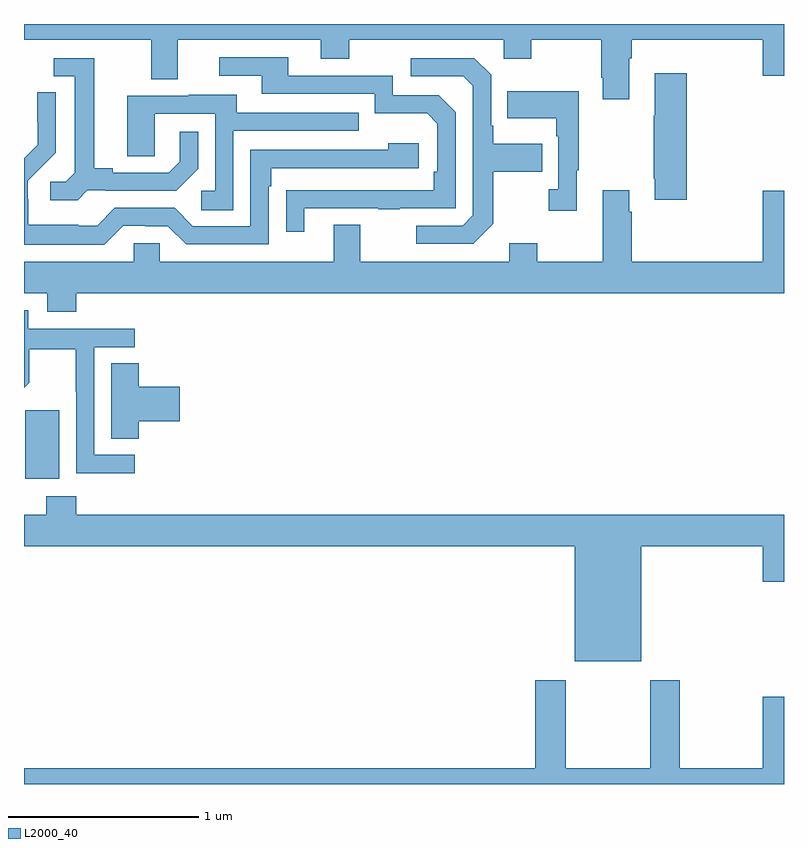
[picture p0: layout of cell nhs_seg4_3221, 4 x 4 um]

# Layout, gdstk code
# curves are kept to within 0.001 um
import gdstk
lib = gdstk.Library(unit=1e-6, precision=1e-09)
def R(c, l, rs):  # rectangles x0, y0, x1, y1
    for r in rs: c.add(gdstk.rectangle(r[:2], r[2:], *l))
def P(c, l, *ps):  # polygons
    for p in ps: c.add(gdstk.Polygon(p, *l))
L2000_40 = (2000, 40)

nhs_seg4_3221 = lib.new_cell('nhs_seg4_3221')
R(nhs_seg4_3221, L2000_40, [(281.006,798.506,281.185,798.867)])
P(nhs_seg4_3221, L2000_40, [(281,800.816),(281.669,800.816),(281.669,800.608),(281.809,800.608),(281.809,800.816),(282.563,800.816),(282.563,800.717),(282.711,800.717),(282.711,800.816),(283.524,800.816),(283.524,800.717),(283.671,800.717),(283.671,800.816),(284.038,800.816),(284.038,800.617),(284.045,800.617),(284.045,800.505),(284.185,800.505),(284.185,800.72),(284.198,800.72),(284.198,800.816),(284.888,800.816),(284.888,800.628),(285,800.628),(285,800.9),(281,800.9)],
  [(282.475,799.929),(282.865,799.929),(282.865,799.924),(282.977,799.924),(282.977,799.929),(283.272,799.929),(283.272,800.436),(283.182,800.526),(282.942,800.526),(282.942,800.628),(282.391,800.628),(282.391,800.724),(282.027,800.724),(282.027,800.628),(282.251,800.628),(282.251,800.532),(282.846,800.532),(282.846,800.429),(283.123,800.429),(283.176,800.376),(283.176,800.122),(283.156,800.122),(283.156,800.025),(282.379,800.024),(282.379,799.806),(282.475,799.806)],
  [(281.334,800.025),(281.428,800.025),(281.428,800.022),(281.8,800.022),(281.916,800.138),(281.916,800.332),(281.819,800.332),(281.819,800.175),(281.762,800.118),(281.467,800.118),(281.467,800.141),(281.371,800.141),(281.371,800.721),(281.157,800.721),(281.157,800.625),(281.267,800.625),(281.267,800.117),(281.22,800.07),(281.139,800.07),(281.139,799.973),(281.282,799.973)],
  [(283.471,799.849),(283.471,800.122),(283.727,800.122),(283.727,800.269),(283.471,800.269),(283.471,800.365),(283.458,800.365),(283.458,800.634),(283.371,800.721),(283.035,800.721),(283.035,800.625),(283.311,800.625),(283.362,800.574),(283.362,799.893),(283.308,799.839),(283.065,799.839),(283.065,799.743),(283.365,799.743)],
  [(284.489,800.641),(284.321,800.641),(284.321,800.417),(284.314,800.417),(284.314,800.086),(284.321,800.086),(284.321,799.974),(284.489,799.974)],
  [(283.909,800.129),(283.921,800.129),(283.921,800.545),(283.543,800.545),(283.543,800.405),(283.8,800.405),(283.8,800.309),(283.812,800.309),(283.812,800.03),(283.761,800.03),(283.761,799.917),(283.909,799.917)],
  [(281.523,799.839),(281.639,799.839),(281.639,799.836),(281.757,799.836),(281.853,799.74),(282.288,799.74),(282.288,800.045),(282.301,800.045),(282.301,800.142),(283.078,800.142),(283.078,800.272),(282.917,800.272),(282.917,800.238),(282.192,800.238),(282.192,799.836),(281.889,799.836),(281.793,799.932),(281.478,799.932),(281.385,799.839),(281.285,799.839),(281.285,799.843),(281.022,799.843),(281.022,799.977),(281.02,799.977),(281.02,800.074),(281.166,800.222),(281.166,800.54),(281.07,800.54),(281.07,800.386),(281.072,800.386),(281.072,800.264),(281.001,800.193),(281,800.194),(281,799.739),(281.423,799.739)],
  [(282.102,800.337),(282.761,800.337),(282.761,800.433),(282.121,800.433),(282.121,800.527),(281.867,800.527),(281.867,800.523),(281.543,800.523),(281.543,800.203),(281.688,800.203),(281.688,800.427),(282.006,800.427),(282.006,800.022),(281.934,800.022),(281.934,799.921),(282.102,799.921)],
  [(281.276,799.484),(285,799.484),(285,800.023),(284.888,800.023),(284.888,799.648),(284.198,799.648),(284.198,799.913),(284.185,799.913),(284.185,800.026),(284.045,800.026),(284.045,799.648),(283.701,799.648),(283.701,799.747),(283.553,799.747),(283.553,799.648),(282.769,799.648),(282.769,799.843),(282.629,799.843),(282.629,799.648),(281.715,799.648),(281.715,799.746),(281.577,799.746),(281.577,799.648),(281,799.648),(281,799.484),(281.123,799.484),(281.123,799.385),(281.276,799.385)],
  [(281.584,798.633),(281.37,798.633),(281.37,799.2),(281.584,799.2),(281.584,799.296),(281.022,799.296),(281.022,799.393),(281,799.393),(281,798.986),(281.027,799.013),(281.027,799.188),(281.272,799.188),(281.272,798.964),(281.274,798.964),(281.274,798.535),(281.584,798.535)],
  [(281.603,798.809),(281.821,798.809),(281.821,798.992),(281.603,798.992),(281.603,799.115),(281.459,799.115),(281.459,798.718),(281.603,798.718)],
  [(284.248,798.152),(284.888,798.152),(284.888,797.964),(285,797.964),(285,798.316),(281.276,798.316),(281.276,798.415),(281.116,798.415),(281.116,798.316),(281,798.316),(281,798.152),(283.898,798.152),(283.898,797.546),(284.248,797.546)],
  [(285,797.359),(284.888,797.359),(284.888,796.984),(284.451,796.984),(284.451,797.446),(284.296,797.446),(284.296,796.984),(283.851,796.984),(283.851,797.446),(283.691,797.446),(283.691,796.984),(281,796.984),(281,796.9),(285,796.9)])

lib.write_gds('nhs_seg4_3221.gds')
